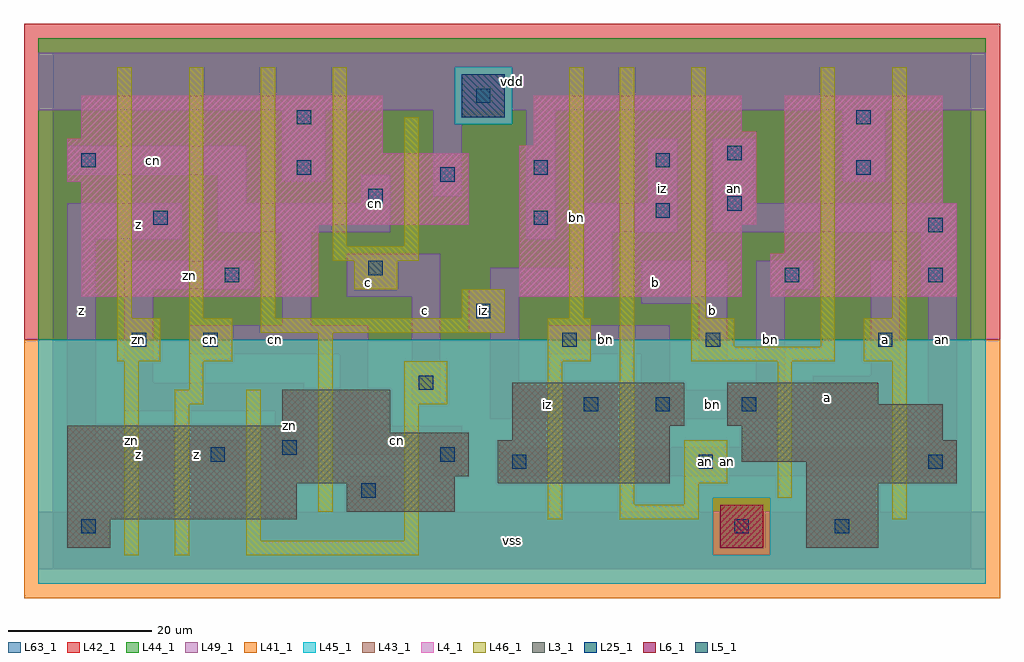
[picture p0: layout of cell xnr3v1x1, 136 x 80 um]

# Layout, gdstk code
import gdstk
lib = gdstk.Library(unit=1e-6, precision=1e-09)
def R(c, l, rs):  # rectangles x0, y0, x1, y1
    for r in rs: c.add(gdstk.rectangle(r[:2], r[2:], *l))
def A(c, l, x, y, w, h, nx, ny, dx, dy):  # array of equal rectangles
    R(c, l, [(x+i*dx, y+j*dy, x+i*dx+w, y+j*dy+h) for i in range(nx) for j in range(ny)])
L3_1 = (3, 1)
L4_1 = (4, 1)
L5_1 = (5, 1)
L6_1 = (6, 1)
L25_1 = (25, 1)
L41_1 = (41, 1)
L42_1 = (42, 1)
L43_1 = (43, 1)
L44_1 = (44, 1)
L45_1 = (45, 1)
L46_1 = (46, 1)
L49_1 = (49, 1)
L63_1 = (63, 1)

xnr3v1x1 = lib.new_cell('xnr3v1x1')
R(xnr3v1x1, L3_1, [(2,3,8,7), (105,3,115,12), (2,7,34,12), (41,8,56,12), (2,12,56,13), (62,12,86,18), (105,12,126,15), (2,13,58,19), (96,15,126,18), (64,18,86,20), (96,18,124,20), (2,19,47,20), (32,20,47,25), (64,20,88,26), (94,20,124,23), (94,23,115,26)])
R(xnr3v1x1, L4_1, [(4,38,37,48), (65,38,96,48), (100,38,126,44), (102,44,126,51), (4,48,58,54), (65,48,98,59), (102,51,124,66), (2,54,58,58), (2,58,46,60), (67,59,98,61), (4,60,46,66), (67,61,96,66)])
R(xnr3v1x1, L5_1, [(57,63,63,69)])
R(xnr3v1x1, L6_1, [(93,3,99,9), (93,3,99,9)])
R(xnr3v1x1, L25_1, [(4,5,6,7), (95,5,97,7), (109,5,111,7), (43,10,45,12), (64,14,66,16), (90,14,92,16), (122,14,124,16), (22,15,24,17), (54,15,56,17), (32,16,34,18), (74,22,76,24), (84,22,86,24), (96,22,98,24), (51,25,53,27), (11,31,13,33), (21,31,23,33), (71,31,73,33), (91,31,93,33), (115,31,117,33), (59,35,61,37), (24,40,26,42), (102,40,104,42), (122,40,124,42), (44,41,46,43), (122,47,124,49), (14,48,16,50), (67,48,69,50), (84,49,86,51), (94,50,96,52), (44,51,46,53), (54,54,56,56), (34,55,36,57), (67,55,69,57), (112,55,114,57), (4,56,6,58), (84,56,86,58), (94,57,96,59), (34,62,36,64), (112,62,114,64), (59,65,61,67)])
R(xnr3v1x1, L41_1, [(-4,-4,132,32)])
R(xnr3v1x1, L42_1, [(-4,32,132,76)])
R(xnr3v1x1, L43_1, [(2,3,8,7), (93,3,99,9), (105,3,115,12), (2,7,34,12), (41,8,56,12), (2,12,56,13), (62,12,86,18), (105,12,126,15), (2,13,58,19), (96,15,126,18), (64,18,86,20), (96,18,124,20), (2,19,47,20), (32,20,47,25), (64,20,88,26), (94,20,124,23), (94,23,115,26), (4,38,37,48), (65,38,96,48), (100,38,126,44), (102,44,126,51), (4,48,58,54), (65,48,98,59), (102,51,124,66), (2,54,58,58), (2,58,46,60), (67,59,98,61), (4,60,46,66), (67,61,96,66), (57,63,63,69)])
R(xnr3v1x1, L44_1, [(92,2,100,10), (-2,32,130,62), (-2,62,56,70), (64,62,130,70), (-2,70,130,74)])
R(xnr3v1x1, L45_1, [(-2,-2,130,2), (-2,2,92,10), (100,2,130,10), (-2,10,130,32), (56,62,64,70)])
A(xnr3v1x1, L46_1, 9, 35, 2, 35, 3, 1, 10, 0)
R(xnr3v1x1, L46_1, [(10,2,12,29), (17,2,19,23), (27,2,51,4), (27,4,29,25), (49,4,51,23), (69,7,71,29), (79,7,90,9), (117,7,119,29), (37,8,39,33), (79,9,81,70), (88,9,90,12), (101,10,103,29), (88,12,94,18), (17,23,21,25), (49,23,55,29), (19,25,21,29), (9,29,15,35), (19,29,25,35), (69,29,75,35), (89,29,109,31), (113,29,119,35), (89,31,95,35), (107,31,109,70), (29,33,63,35), (57,35,63,39), (72,35,74,70), (89,35,91,70), (117,35,119,70), (42,39,48,43), (39,43,51,45), (39,45,41,70), (49,45,51,63)])
R(xnr3v1x1, L49_1, [(-2,0,130,8), (41,8,47,13), (53,13,57,16), (62,13,126,17), (2,14,26,18), (31,14,35,22), (40,16,57,20), (122,17,126,38), (2,18,6,46), (40,20,44,30), (61,21,78,25), (82,21,102,25), (106,21,118,27), (10,22,35,26), (50,23,54,38), (61,25,65,33), (82,25,86,30), (98,25,102,39), (10,26,14,39), (114,27,118,43), (90,29,94,37), (19,30,44,34), (69,30,86,34), (58,33,65,38), (32,34,36,47), (82,37,94,43), (41,38,54,44), (58,38,78,39), (121,38,126,47), (10,39,28,43), (61,39,78,42), (98,39,106,43), (74,42,78,47), (2,46,18,51), (66,46,70,64), (23,47,47,51), (74,47,87,51), (92,47,126,51), (23,51,27,55), (43,51,47,55), (83,51,87,60), (92,51,98,60), (53,52,57,64), (32,54,38,64), (110,54,116,64), (2,55,27,59), (-2,64,130,72)])
R(xnr3v1x1, L63_1, [(0,0,128,72)])
xnr3v1x1.add(gdstk.Label('zn', (11,18), layer=46, texttype=1))
xnr3v1x1.add(gdstk.Label('cn', (22,32), layer=49, texttype=1))
xnr3v1x1.add(gdstk.Label('iz', (60,36), layer=49, texttype=1))
xnr3v1x1.add(gdstk.Label('bn', (73,49), layer=46, texttype=1))
xnr3v1x1.add(gdstk.Label('an', (91,15), layer=49, texttype=1))
xnr3v1x1.add(gdstk.Label('z', (12,16), layer=49, texttype=1))
xnr3v1x1.add(gdstk.Label('z', (20,16), layer=49, texttype=1))
xnr3v1x1.add(gdstk.Label('z', (4,36), layer=49, texttype=1))
xnr3v1x1.add(gdstk.Label('zn', (12,32), layer=49, texttype=1))
xnr3v1x1.add(gdstk.Label('z', (12,48), layer=49, texttype=1))
xnr3v1x1.add(gdstk.Label('zn', (33,20), layer=49, texttype=1))
xnr3v1x1.add(gdstk.Label('cn', (31,32), layer=49, texttype=1))
xnr3v1x1.add(gdstk.Label('c', (44,40), layer=49, texttype=1))
xnr3v1x1.add(gdstk.Label('zn', (19,41), layer=49, texttype=1))
xnr3v1x1.add(gdstk.Label('cn', (45,51), layer=49, texttype=1))
xnr3v1x1.add(gdstk.Label('cn', (14,57), layer=49, texttype=1))
xnr3v1x1.add(gdstk.Label('vss', (64,4), layer=49, texttype=1))
xnr3v1x1.add(gdstk.Label('cn', (48,18), layer=49, texttype=1))
xnr3v1x1.add(gdstk.Label('c', (52,36), layer=49, texttype=1))
xnr3v1x1.add(gdstk.Label('iz', (61,36), layer=49, texttype=1))
xnr3v1x1.add(gdstk.Label('vdd', (64,68), layer=49, texttype=1))
xnr3v1x1.add(gdstk.Label('iz', (69,23), layer=49, texttype=1))
xnr3v1x1.add(gdstk.Label('bn', (92,23), layer=49, texttype=1))
xnr3v1x1.add(gdstk.Label('bn', (77,32), layer=49, texttype=1))
xnr3v1x1.add(gdstk.Label('b', (92,36), layer=49, texttype=1))
xnr3v1x1.add(gdstk.Label('b', (84,40), layer=49, texttype=1))
xnr3v1x1.add(gdstk.Label('bn', (100,32), layer=49, texttype=1))
xnr3v1x1.add(gdstk.Label('iz', (85,53), layer=49, texttype=1))
xnr3v1x1.add(gdstk.Label('an', (95,53), layer=49, texttype=1))
xnr3v1x1.add(gdstk.Label('an', (94,15), layer=49, texttype=1))
xnr3v1x1.add(gdstk.Label('a', (108,24), layer=49, texttype=1))
xnr3v1x1.add(gdstk.Label('a', (116,32), layer=49, texttype=1))
xnr3v1x1.add(gdstk.Label('an', (124,32), layer=49, texttype=1))

lib.write_gds('xnr3v1x1.gds')
